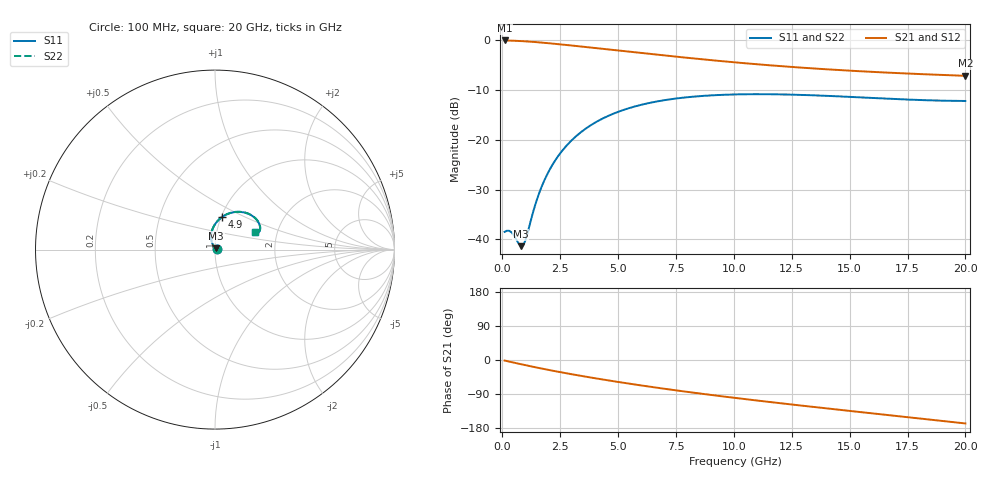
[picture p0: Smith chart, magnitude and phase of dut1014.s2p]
! Touchstone file exported from HFSS 2024.1.0
!  File:  C:/UserFiles/LocalFiles/RDL_TSV_Batchsim/temp_RDL_TSV_1014_1780079303.aedt
!  Generated:  02:42:27 AM May 30, 2026
!  Design:  RDL_TSV
!  Project:  temp_RDL_TSV_1014_1780079303
!  Setup:  Setup1
!  Solution:  Sweep
! Variables:
!  dtsv = 9.45um
!  hbump = 3um
!  htsv = 58.44um
!  ldown = 252.5um
!  lrdl = 441.45um
!  p = 40
!  p1 = 42.59um
!  rhole = 10um
!  subl = 2523.3um
!  t = 450um
!  tdown = 3.79um
!  trdl = 3.98um
!  viad = 10um
!  wdown = 16.69um
!  wrdl = 23.34um
!  xbump = 18um
# GHz S MA R 50.000000
! Terminal data exported
! Port[1] = TM1_1_T1
! Port[2] = TM1_4_T1
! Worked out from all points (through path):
!   200 points, 100 MHz to 20 GHz, reference 50 ohm
!   highest |S21| = -0.11 dB at 100 MHz (marker M1); lowest = -7.2 dB at 20 GHz (marker M2)
!   group delay of S21, straight-line fit = 22.1 ps
!   lowest |S11| = -41.4 dB at 800 MHz (marker M3), VSWR 1.02, Z = 50.6 + j0.646 ohm
!   |S11| at or under -10 dB: start of sweep to end of sweep
!   |S22| runs from -41.4 to -10.8 dB; largest |S21 - S12| = 9.6e-15
!   S11 on the Smith chart (normalised r, x): 100 MHz: 1.02, +0.00; 4.9 GHz: 1.01, +0.38; 20 GHz: 1.53, +0.33
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0.1  0.01189 5.8  0.9878 -1.4  0.9878 -1.4  0.01189 5.8
! Gamma 0 0 0 0
! Port Impedance 50 0 50 0
0.3  0.01219 12.2  0.9851 -4.2  0.9851 -4.2  0.01218 12.2
0.4  0.01175 14.9  0.9833 -5.6  0.9833 -5.6  0.01175 14.9
0.8  0.008545 48.4  0.9741 -11.0  0.9741 -11.0  0.008535 48.6
0.9  0.008697 65.0  0.9712 -12.3  0.9712 -12.3  0.008695 65.2
1  0.009801 80.9  0.968 -13.7  0.968 -13.7  0.009811 81.2
1.5  0.02524 112.3  0.9492 -20.1  0.9492 -20.1  0.02531 112.5
1.7  0.03375 113.7  0.9406 -22.6  0.9406 -22.6  0.03385 113.9
2  0.04775 112.6  0.927 -26.2  0.927 -26.2  0.04789 112.7
2.3  0.06266 109.8  0.9128 -29.7  0.9128 -29.7  0.06284 109.9
2.7  0.08322 104.9  0.8934 -34.3  0.8934 -34.3  0.08345 105.0
3.5  0.1239 94.5  0.8544 -42.9  0.8544 -42.9  0.1243 94.5
4.2  0.1569 85.7  0.8209 -50.1  0.8209 -50.1  0.1574 85.8
4.9  0.1861 77.6  0.7885 -57.0  0.7885 -57.0  0.1867 77.7
5.8  0.2175 68.3  0.7486 -65.4  0.7486 -65.4  0.2182 68.4
6.8  0.2443 59.3  0.707 -74.2  0.707 -74.2  0.2452 59.4
8.4  0.2716 47.5  0.6474 -87.4  0.6474 -87.4  0.2727 47.6
10.1  0.2842 37.7  0.5942 -100.4  0.5942 -100.4  0.2854 37.8
11.7  0.2851 30.8  0.5532 -111.9  0.5532 -111.9  0.2864 30.9
13.4  0.2785 25.6  0.5182 -123.6  0.5182 -123.6  0.2799 25.7
16.7  0.2571 21.5  0.4692 -145.6  0.4692 -145.6  0.2586 21.5
20  0.2443 24.2  0.4367 -167.4  0.4367 -167.4  0.2457 24.1
